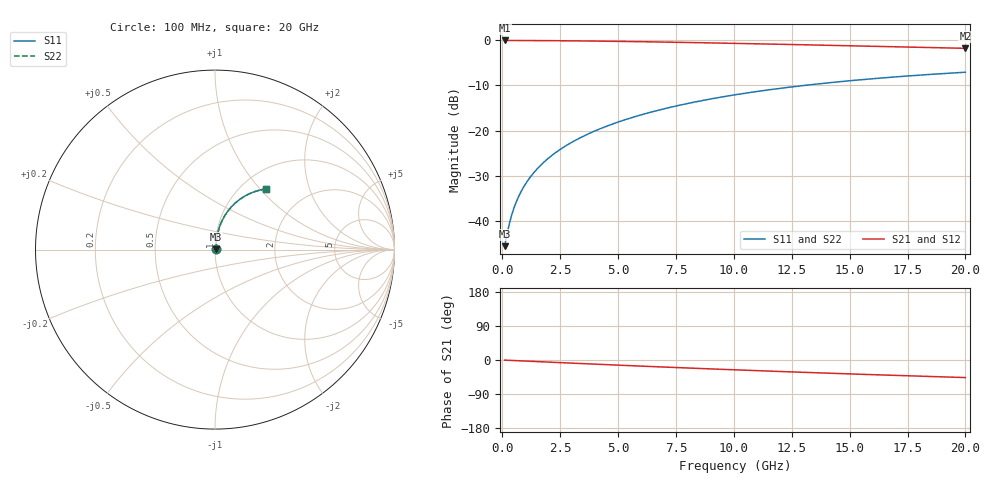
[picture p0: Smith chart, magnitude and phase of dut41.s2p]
! Touchstone file exported from HFSS 2024.1.0
!  File:  C:/UserFiles/LocalFiles/RDL_TSV_Batchsim/temp_RDL_top_41_1778680968.aedt
!  Generated:  10:05:05 PM May 13, 2026
!  Design:  RDL_top
!  Project:  temp_RDL_top_41_1778680968
!  Setup:  Setup1
!  Solution:  Sweep
! Variables:
!  dtsv = 10.80580581um
!  hbump = 3um
!  htsv = 84.55um
!  ldown = 100um
!  lrdl = 628.09um
!  p = 40
!  p1 = 51.12um
!  rhole = 1um
!  t = 450um
!  tdown = 3.915915916um
!  trdl = 2.74um
!  wdown = 15.38538539um
!  wrdl = 18.76um
# GHz S MA R 50.000000
! Terminal data exported
! Port[1] = Box2_T1
! Port[2] = Box2_T2
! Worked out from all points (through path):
!   200 points, 100 MHz to 20 GHz, reference 50 ohm
!   highest |S21| = -0.04 dB at 100 MHz (marker M1); lowest = -1.8 dB at 20 GHz (marker M2)
!   group delay of S21, straight-line fit = 6.42 ps
!   lowest |S11| = -45.6 dB at 100 MHz (marker M3), VSWR 1.01, Z = 50.5 + j0.267 ohm
!   |S11| at or under -10 dB: start of sweep to 13.05 GHz
!   |S22| runs from -45.6 to -7.1 dB; largest |S21 - S12| = 4e-15
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0.1  0.005229 30.4  0.9955 -0.3  0.9955 -0.3  0.005229 30.4
! Gamma 0 0 0 0
! Port Impedance 50 0 50 0
0.3  0.009171 58.4  0.9952 -0.9  0.9952 -0.9  0.009171 58.4
0.4  0.01146 64.1  0.9949 -1.2  0.9949 -1.2  0.01146 64.1
0.5  0.01378 67.8  0.9947 -1.4  0.9947 -1.4  0.01378 67.8
0.6  0.01612 70.4  0.9945 -1.7  0.9945 -1.7  0.01611 70.4
0.8  0.0208 73.9  0.994 -2.3  0.994 -2.3  0.0208 73.9
1.1  0.02789 77.0  0.9933 -3.1  0.9933 -3.1  0.02789 76.9
1.3  0.03265 78.2  0.9928 -3.6  0.9928 -3.6  0.03265 78.2
1.6  0.03985 79.4  0.9919 -4.5  0.9919 -4.5  0.03985 79.4
2.1  0.05197 80.5  0.9902 -5.8  0.9902 -5.8  0.05197 80.5
2.7  0.06666 80.9  0.9876 -7.5  0.9876 -7.5  0.06666 80.8
3.5  0.08646 80.6  0.9832 -9.6  0.9832 -9.6  0.08646 80.6
4.2  0.1039 80.0  0.9787 -11.5  0.9787 -11.5  0.1039 79.9
5  0.1241 78.9  0.9728 -13.6  0.9728 -13.6  0.124 78.9
5.9  0.1467 77.6  0.9654 -15.9  0.9654 -15.9  0.1467 77.5
6.8  0.1694 76.0  0.9573 -18.2  0.9573 -18.2  0.1693 76.0
8.4  0.2091 72.9  0.9417 -22.1  0.9417 -22.1  0.209 72.9
10.1  0.25 69.5  0.9239 -26.1  0.9239 -26.1  0.2499 69.4
11.7  0.2867 66.1  0.9064 -29.7  0.9064 -29.7  0.2866 66.1
13.4  0.3235 62.6  0.8874 -33.4  0.8874 -33.4  0.3234 62.6
16.7  0.3879 56.0  0.8504 -40.1  0.8504 -40.1  0.3877 56.0
20  0.4425 49.9  0.8144 -46.3  0.8144 -46.3  0.4424 49.8
